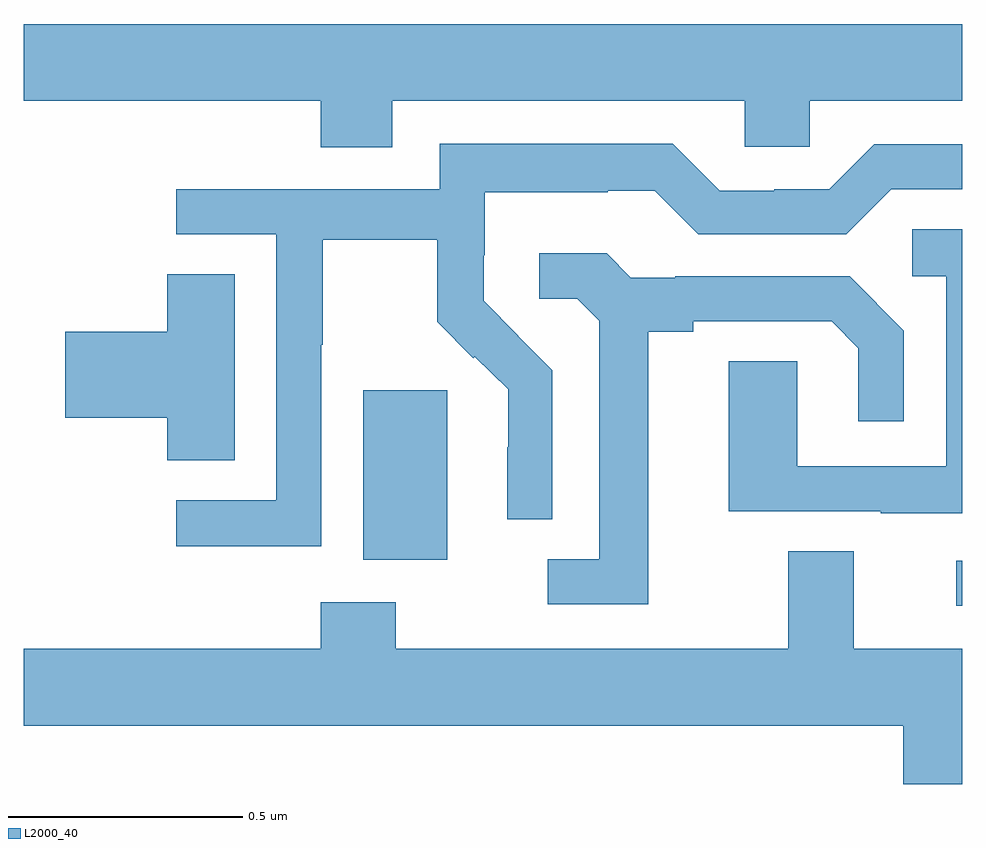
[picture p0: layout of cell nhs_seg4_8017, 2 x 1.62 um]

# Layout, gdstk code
import gdstk
lib = gdstk.Library(unit=1e-6, precision=1e-09)
def R(c, l, rs):  # rectangles x0, y0, x1, y1
    for r in rs: c.add(gdstk.rectangle(r[:2], r[2:], *l))
def P(c, l, *ps):  # polygons
    for p in ps: c.add(gdstk.Polygon(p, *l))
L2000_40 = (2000, 40)

nhs_seg4_8017 = lib.new_cell('nhs_seg4_8017')
R(nhs_seg4_8017, L2000_40, [(210.987,830.376,211,830.472), (209.723,830.474,209.902,830.835)])
P(nhs_seg4_8017, L2000_40, [(209.785,831.452),(210.537,831.452),(210.537,831.354),(210.675,831.354),(210.675,831.452),(211,831.452),(211,831.616),(209,831.616),(209,831.452),(209.633,831.452),(209.633,831.353),(209.785,831.353)],
  [(209.634,830.932),(209.637,830.932),(209.637,831.156),(209.881,831.156),(209.881,830.981),(209.958,830.904),(209.961,830.907),(210.032,830.837),(210.032,830.714),(210.03,830.714),(210.03,830.56),(210.126,830.56),(210.126,830.878),(210.053,830.951),(210.054,830.952),(209.98,831.026),(209.98,831.123),(209.982,831.123),(209.982,831.257),(210.245,831.257),(210.245,831.261),(210.345,831.261),(210.438,831.168),(210.753,831.168),(210.849,831.264),(211,831.264),(211,831.36),(210.813,831.36),(210.717,831.264),(210.599,831.264),(210.599,831.261),(210.483,831.261),(210.383,831.361),(209.886,831.361),(209.886,831.264),(209.325,831.264),(209.325,831.168),(209.538,831.168),(209.538,830.601),(209.325,830.601),(209.325,830.503),(209.634,830.503)],
  [(211,831.179),(210.894,831.179),(210.894,831.078),(210.966,831.078),(210.966,830.673),(210.648,830.673),(210.648,830.897),(210.503,830.897),(210.503,830.577),(210.827,830.577),(210.827,830.573),(211,830.573)],
  [(210.331,830.96),(210.427,830.96),(210.427,830.982),(210.722,830.982),(210.779,830.925),(210.779,830.769),(210.876,830.769),(210.876,830.962),(210.76,831.078),(210.388,831.078),(210.388,831.075),(210.294,831.075),(210.242,831.127),(210.099,831.127),(210.099,831.03),(210.18,831.03),(210.227,830.983),(210.227,830.475),(210.117,830.475),(210.117,830.379),(210.331,830.379)],
  [(209.449,831.083),(209.306,831.083),(209.306,830.96),(209.088,830.96),(209.088,830.777),(209.306,830.777),(209.306,830.686),(209.449,830.686)],
  [(211,830.284),(210.769,830.284),(210.769,830.492),(210.629,830.492),(210.629,830.284),(209.793,830.284),(209.793,830.383),(209.633,830.383),(209.633,830.284),(209,830.284),(209,830.12),(210.875,830.12),(210.875,829.996),(211,829.996)])

lib.write_gds('nhs_seg4_8017.gds')
